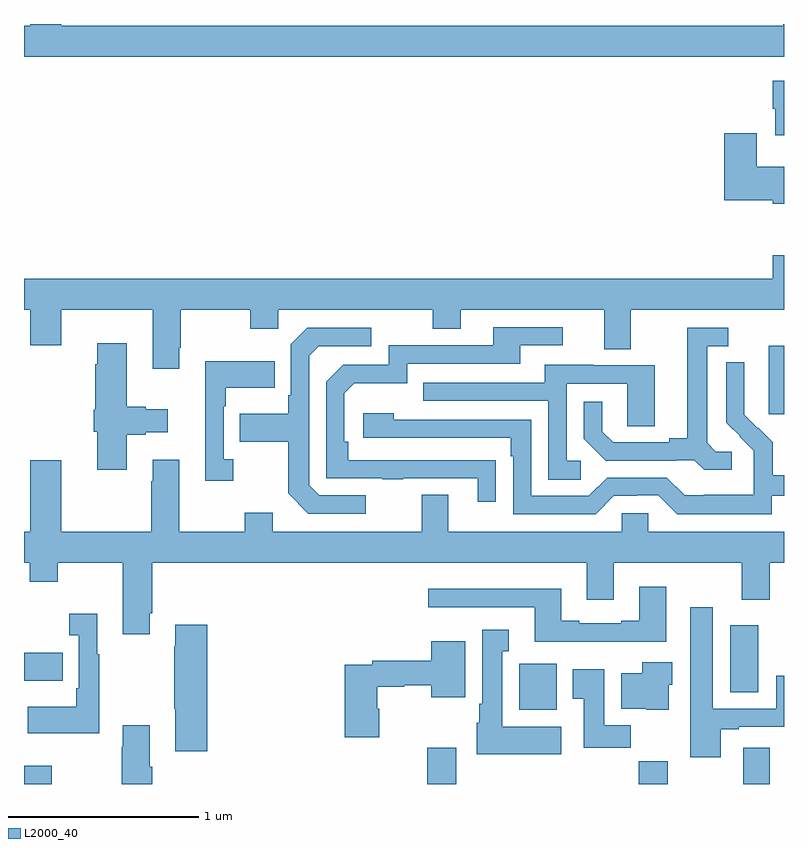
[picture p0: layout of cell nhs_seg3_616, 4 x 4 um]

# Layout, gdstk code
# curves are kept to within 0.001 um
import gdstk
lib = gdstk.Library(unit=1e-6, precision=1e-09)
def R(c, l, rs):  # rectangles x0, y0, x1, y1
    for r in rs: c.add(gdstk.rectangle(r[:2], r[2:], *l))
def P(c, l, *ps):  # polygons
    for p in ps: c.add(gdstk.Polygon(p, *l))
L2000_40 = (2000, 40)

nhs_seg3_616 = lib.new_cell('nhs_seg3_616')
R(nhs_seg3_616, L2000_40, [(141,718.4,141.147,718.495), (143.123,718.4,143.275,718.591), (144.235,718.4,144.387,718.52), (144.785,718.4,144.925,718.591), (143.606,718.79,143.803,719.032), (144.716,718.882,144.865,719.236), (141,718.943,141.203,719.091), (144.92,720.345,145,720.706)])
P(nhs_seg3_616, L2000_40, [(145,722.4),(144.995,722.4),(144.995,722.392),(141.196,722.392),(141.196,722.4),(141.032,722.4),(141.032,722.392),(141,722.392),(141,722.228),(145,722.228)],
  [(145,722.101),(144.941,722.101),(144.941,721.953),(144.953,721.953),(144.953,721.814),(145,721.814)],
  [(145,721.648),(144.856,721.648),(144.856,721.825),(144.686,721.825),(144.686,721.472),(144.942,721.472),(144.942,721.454),(145,721.454)],
  [(141.817,720.697),(141.825,720.697),(141.825,720.896),(142.192,720.896),(142.192,720.797),(142.338,720.797),(142.338,720.896),(143.152,720.896),(143.152,720.797),(143.299,720.797),(143.299,720.896),(144.053,720.896),(144.053,720.688),(144.193,720.688),(144.193,720.896),(145,720.896),(145,721.184),(144.941,721.184),(144.941,721.06),(141,721.06),(141,720.896),(141.032,720.896),(141.032,720.708),(141.196,720.708),(141.196,720.896),(141.677,720.896),(141.677,720.585),(141.817,720.585)],
  [(143.483,720.104),(142.706,720.105),(142.706,720.202),(142.686,720.202),(142.686,720.456),(142.739,720.509),(143.016,720.509),(143.016,720.612),(143.611,720.612),(143.611,720.708),(143.836,720.708),(143.836,720.804),(143.471,720.804),(143.471,720.708),(142.92,720.708),(142.92,720.606),(142.68,720.606),(142.59,720.516),(142.59,720.009),(142.885,720.009),(142.885,720.004),(142.997,720.004),(142.997,720.009),(143.387,720.009),(143.387,719.886),(143.483,719.886)],
  [(144.724,720.15),(144.642,720.15),(144.595,720.197),(144.595,720.705),(144.706,720.705),(144.706,720.801),(144.491,720.801),(144.491,720.221),(144.395,720.221),(144.395,720.198),(144.1,720.198),(144.043,720.255),(144.043,720.412),(143.946,720.412),(143.946,720.218),(144.062,720.102),(144.434,720.102),(144.434,720.105),(144.528,720.105),(144.58,720.053),(144.724,720.053)],
  [(142.798,719.919),(142.554,719.919),(142.5,719.973),(142.5,720.654),(142.551,720.705),(142.828,720.705),(142.828,720.801),(142.491,720.801),(142.404,720.714),(142.404,720.445),(142.392,720.445),(142.392,720.349),(142.135,720.349),(142.135,720.202),(142.392,720.202),(142.392,719.929),(142.497,719.823),(142.798,719.823)],
  [(141.541,720.239),(141.641,720.239),(141.641,720.251),(141.757,720.251),(141.757,720.373),(141.641,720.373),(141.641,720.386),(141.541,720.386),(141.541,720.721),(141.386,720.721),(141.386,720.608),(141.374,720.608),(141.374,720.369),(141.368,720.369),(141.368,720.255),(141.386,720.255),(141.386,720.054),(141.541,720.054)],
  [(142.102,720.11),(142.05,720.11),(142.05,720.389),(142.063,720.389),(142.063,720.485),(142.319,720.485),(142.319,720.625),(141.953,720.625),(141.953,719.997),(142.102,719.997)],
  [(144.936,719.916),(145,719.916),(145,720.025),(144.941,720.025),(144.941,720.199),(144.864,720.276),(144.861,720.273),(144.791,720.344),(144.792,720.62),(144.696,720.62),(144.696,720.302),(144.842,720.154),(144.842,720.057),(144.84,720.057),(144.84,719.923),(144.577,719.923),(144.577,719.919),(144.477,719.919),(144.384,720.012),(144.069,720.012),(143.973,719.916),(143.67,719.916),(143.67,720.318),(142.946,720.318),(142.946,720.352),(142.785,720.352),(142.785,720.222),(143.561,720.222),(143.561,720.125),(143.574,720.125),(143.574,719.82),(144.009,719.82),(144.105,719.916),(144.224,719.916),(144.224,719.919),(144.339,719.919),(144.439,719.819),(144.936,719.819)],
  [(143.929,720.102),(143.856,720.102),(143.856,720.507),(144.174,720.507),(144.174,720.283),(144.319,720.283),(144.319,720.603),(143.995,720.603),(143.995,720.607),(143.741,720.607),(143.741,720.513),(143.101,720.513),(143.101,720.417),(143.76,720.417),(143.76,720.001),(143.929,720.001)],
  [(141.661,719.299),(141.674,719.299),(141.674,719.564),(143.963,719.564),(143.963,719.37),(144.103,719.37),(144.103,719.564),(144.778,719.564),(144.778,719.37),(144.925,719.37),(144.925,719.564),(145,719.564),(145,719.728),(144.285,719.728),(144.285,719.826),(144.147,719.826),(144.147,719.728),(143.233,719.728),(143.233,719.923),(143.093,719.923),(143.093,719.728),(142.309,719.728),(142.309,719.827),(142.162,719.827),(142.162,719.728),(141.817,719.728),(141.817,720.106),(141.677,720.106),(141.677,719.993),(141.67,719.993),(141.67,719.728),(141.196,719.728),(141.196,720.103),(141.032,720.103),(141.032,719.728),(141,719.728),(141,719.564),(141.029,719.564),(141.029,719.465),(141.177,719.465),(141.177,719.564),(141.521,719.564),(141.521,719.187),(141.661,719.187)],
  [(144.379,719.437),(144.239,719.437),(144.239,719.26),(144.143,719.26),(144.143,719.247),(143.923,719.247),(143.923,719.26),(143.827,719.26),(143.827,719.428),(143.127,719.428),(143.127,719.331),(143.687,719.331),(143.687,719.15),(144.379,719.15)],
  [(144.667,718.689),(144.763,718.689),(144.763,718.701),(145,718.701),(145,718.969),(144.959,718.969),(144.959,718.797),(144.625,718.797),(144.625,719.329),(144.506,719.329),(144.506,718.542),(144.667,718.542)],
  [(141.397,719.083),(141.385,719.083),(141.385,719.296),(141.237,719.296),(141.237,719.183),(141.288,719.183),(141.288,718.903),(141.276,718.903),(141.276,718.807),(141.019,718.807),(141.019,718.667),(141.397,718.667)],
  [(141.965,719.239),(141.797,719.239),(141.797,719.126),(141.79,719.126),(141.79,718.795),(141.797,718.795),(141.797,718.572),(141.965,718.572)],
  [(143.827,718.702),(143.518,718.702),(143.518,719.099),(143.551,719.099),(143.551,719.212),(143.411,719.212),(143.411,718.822),(143.396,718.822),(143.396,718.722),(143.384,718.722),(143.384,718.556),(143.827,718.556)],
  [(142.871,718.797),(142.858,718.797),(142.858,718.912),(143.001,718.912),(143.001,718.92),(143.144,718.92),(143.144,718.856),(143.323,718.856),(143.323,719.152),(143.144,719.152),(143.144,719.048),(142.834,719.048),(142.834,719.028),(142.688,719.028),(142.688,718.647),(142.871,718.647)],
  [(144.394,718.923),(144.412,718.923),(144.412,719.041),(144.254,719.041),(144.254,718.984),(144.143,718.984),(144.143,718.796),(144.276,718.796),(144.276,718.79),(144.394,718.79)],
  [(144.194,718.708),(144.055,718.708),(144.055,719.005),(143.888,719.005),(143.888,718.849),(143.945,718.849),(143.945,718.59),(144.194,718.59)],
  [(141.674,718.492),(141.661,718.492),(141.661,718.708),(141.521,718.708),(141.521,718.595),(141.514,718.595),(141.514,718.4),(141.674,718.4)])

lib.write_gds('nhs_seg3_616.gds')
